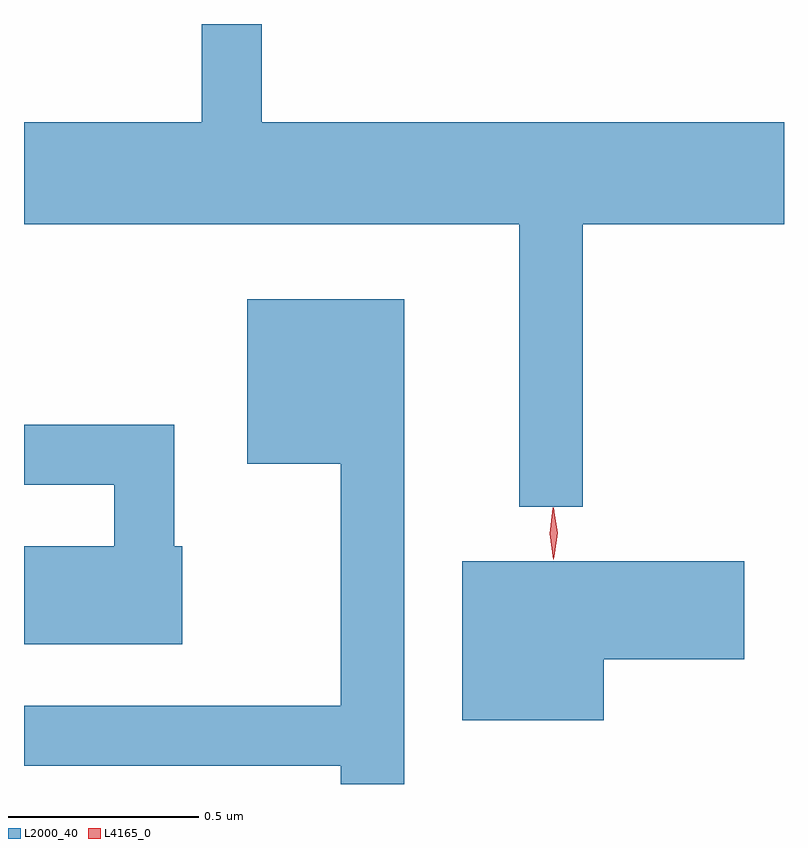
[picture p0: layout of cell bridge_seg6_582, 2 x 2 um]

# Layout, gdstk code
import gdstk
lib = gdstk.Library(unit=1e-6, precision=1e-09)
def P(c, l, *ps):  # polygons
    for p in ps: c.add(gdstk.Polygon(p, *l))
L2000_40 = (2000, 40)
L4165_0 = (4165, 0)

bridge_seg6_582 = lib.new_cell('bridge_seg6_582')
P(bridge_seg6_582, L2000_40, [(427.819,1638.836),(428.348,1638.836),(428.348,1639.104),(426.974,1639.104),(426.974,1639.363),(426.816,1639.363),(426.816,1639.104),(426.348,1639.104),(426.348,1638.836),(427.651,1638.836),(427.651,1638.093),(427.819,1638.093)],
  [(427.349,1638.639),(426.936,1638.639),(426.936,1638.206),(427.181,1638.206),(427.181,1637.569),(426.348,1637.569),(426.348,1637.411),(427.181,1637.411),(427.181,1637.363),(427.349,1637.363)],
  [(426.764,1637.989),(426.744,1637.989),(426.744,1638.309),(426.348,1638.309),(426.348,1638.151),(426.586,1638.151),(426.586,1637.989),(426.348,1637.989),(426.348,1637.731),(426.764,1637.731)],
  [(427.874,1637.691),(428.244,1637.691),(428.244,1637.949),(427.501,1637.949),(427.501,1637.531),(427.874,1637.531)])
P(bridge_seg6_582, L4165_0, [(427.742,1637.96),(427.742,1637.961),(427.732,1638.023),(427.74,1638.086),(427.741,1638.087),(427.742,1638.086),(427.752,1638.024),(427.743,1637.961)],
  [(427.741,1637.954),(427.731,1638.022),(427.74,1638.09),(427.741,1638.09),(427.742,1638.09),(427.751,1638.022),(427.742,1637.954),(427.742,1637.954)])

lib.write_gds('bridge_seg6_582.gds')
